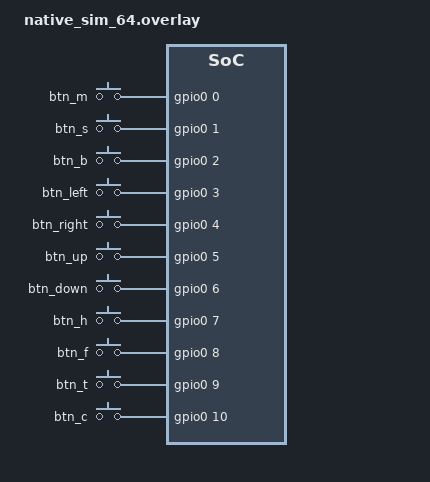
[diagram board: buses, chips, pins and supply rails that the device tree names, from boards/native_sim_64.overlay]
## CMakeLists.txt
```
cmake_minimum_required(VERSION 3.20.0)
find_package(Zephyr REQUIRED HINTS $ENV{ZEPHYR_BASE})
project(native_sim_keypad_demo)

target_sources(app PRIVATE src/main.c)
```

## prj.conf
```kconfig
# Common project configuration

# LVGL
CONFIG_LVGL=y
CONFIG_LV_Z_MEM_POOL_SIZE=196608

# Enable larger Montserrat font sizes for readability
CONFIG_LV_FONT_MONTSERRAT_22=y
CONFIG_LV_FONT_MONTSERRAT_28=y

# Display blanking
CONFIG_DISPLAY=y

# Input system
CONFIG_INPUT=y

# Logging
CONFIG_LOG=y
CONFIG_LOG_BACKEND_UART=y

# Shell (optional, useful for debugging)
CONFIG_SHELL=n
```

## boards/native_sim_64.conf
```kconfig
# Native simulator 64-bit configuration

# SDL Display Configuration
CONFIG_SDL_DISPLAY_ZOOM_PCT=100

# SDL GPIO emulation → keyboard keys act as virtual GPIO buttons
CONFIG_GPIO_EMUL=y
CONFIG_GPIO_EMUL_SDL=y
CONFIG_INPUT_GPIO_KEYS=y

# Heap for LVGL
CONFIG_HEAP_MEM_POOL_SIZE=16384000

# UART PTY Configuration
CONFIG_SERIAL=y
CONFIG_UART_NATIVE_PTY=y
# Create PTY on own pseudo-terminal (not stdin/stdout)
CONFIG_UART_NATIVE_PTY_0_ON_OWN_PTY=y
```

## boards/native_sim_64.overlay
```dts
/*
 * native_sim 64-bit overlay
 * SDL display + SDL keyboard emulation via gpio-emul-sdl
 *
 * Pin | SDL scancode | Key | TOOL_BTN
 *  0  |     16       |  M  | TOOL_BTN_MENU
 *  1  |     22       |  S  | TOOL_BTN_FUNC   (settings/function)
 *  2  |      5       |  B  | TOOL_BTN_BACK
 *  3  |     80       |  ← | TOOL_BTN_LEFT
 *  4  |     79       |  → | TOOL_BTN_RIGHT
 *  5  |     82       |  ↑  | TOOL_BTN_UP
 *  6  |     81       |  ↓  | TOOL_BTN_DOWN
 *  7  |     11       |  H  | TOOL_BTN_HERO
 *  8  |      9       |  F  | TOOL_BTN_FUNC (duplicate shortcut)
 *  9  |     23       |  T  | TOOL_BTN_BLUETOOTH
 * 10  |      6       |  C  | TOOL_BTN_CALCULATE
 */

#include <zephyr/dt-bindings/input/input-event-codes.h>

/ {
	chosen {
		zephyr,display = &sdl_dc;
	};

	nav_keys: nav_keys {
		compatible = "gpio-keys";

		btn_m: btn_m {
			gpios = <&gpio0 0 GPIO_ACTIVE_HIGH>;
			zephyr,code = <INPUT_KEY_M>;
		};
		btn_s: btn_s {
			gpios = <&gpio0 1 GPIO_ACTIVE_HIGH>;
			zephyr,code = <INPUT_KEY_S>;
		};
		btn_b: btn_b {
			gpios = <&gpio0 2 GPIO_ACTIVE_HIGH>;
			zephyr,code = <INPUT_KEY_B>;
		};
		btn_left: btn_left {
			gpios = <&gpio0 3 GPIO_ACTIVE_HIGH>;
			zephyr,code = <INPUT_KEY_LEFT>;
		};
		btn_right: btn_right {
			gpios = <&gpio0 4 GPIO_ACTIVE_HIGH>;
			zephyr,code = <INPUT_KEY_RIGHT>;
		};
		btn_up: btn_up {
			gpios = <&gpio0 5 GPIO_ACTIVE_HIGH>;
			zephyr,code = <INPUT_KEY_UP>;
		};
		btn_down: btn_down {
			gpios = <&gpio0 6 GPIO_ACTIVE_HIGH>;
			zephyr,code = <INPUT_KEY_DOWN>;
		};
		btn_h: btn_h {
			gpios = <&gpio0 7 GPIO_ACTIVE_HIGH>;
			zephyr,code = <INPUT_KEY_H>;
		};
		btn_f: btn_f {
			gpios = <&gpio0 8 GPIO_ACTIVE_HIGH>;
			zephyr,code = <INPUT_KEY_F>;
		};
		btn_t: btn_t {
			gpios = <&gpio0 9 GPIO_ACTIVE_HIGH>;
			zephyr,code = <INPUT_KEY_T>;
		};
		btn_c: btn_c {
			gpios = <&gpio0 10 GPIO_ACTIVE_HIGH>;
			zephyr,code = <INPUT_KEY_C>;
		};
	};

	aliases {
		mt-keypad-settings = &btn_s;
		mt-keypad-right = &btn_right;
		mt-keypad-measure = &btn_m;
		mt-keypad-up = &btn_up;
		mt-keypad-down = &btn_down;
		mt-keypad-left = &btn_left;
	};
};

&sdl_dc {
	width = <480>;
	height = <854>;
};

&gpio0 {
	ngpios = <11>;
	status = "okay";

	sdl_gpio {
		compatible = "zephyr,gpio-emul-sdl";
		/* M=16 S=22 B=5 LEFT=80 RIGHT=79 UP=82 DOWN=81 H=11 F=9 T=23 C=6 */
		scancodes = <16 22  5 80 79 82 81 11  9 23 6>;
	};
};
```

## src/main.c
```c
/*
 * SPDX-License-Identifier: Apache-2.0
 *
 * Native-sim keypad demo  (480 × 854 display)
 *
 * Layout:
 *
 *   ┌──────────────────────────────────────┐
 *   │          Keypad Demo                 │  title
 *   │  ┌────────────────────────────────┐  │
 *   │  │  Last key: …                   │  │  status bar
 *   │  └────────────────────────────────┘  │
 *   │                                      │
 *   │  ┌─────── Action Keys ────────────┐  │
 *   │  │  [  M  ] [  H  ] [  B  ]      │  │
 *   │  │  [  S  ] [  F  ] [  T  ]      │  │
 *   │  │  [  C  ]                       │  │
 *   │  └────────────────────────────────┘  │
 *   │                                      │
 *   │  ┌────────── D-Pad ────────────── ┐  │
 *   │  │          [  ▲  ]               │  │
 *   │  │  [  ◄ ]  [     ]  [  ► ]      │  │
 *   │  │          [  ▼  ]               │  │
 *   │  └────────────────────────────────┘  │
 *   │                                      │
 *   │  Click a button or press SDL key     │  hint
 *   └──────────────────────────────────────┘
 */

#include <zephyr/kernel.h>
#include <zephyr/device.h>
#include <zephyr/drivers/display.h>
#include <zephyr/input/input.h>
#include <zephyr/logging/log.h>

#include <lvgl.h>

LOG_MODULE_REGISTER(main, LOG_LEVEL_INF);

/* ── DT nodes ─────────────────────────────────────────────────────────────── */
#define NAV_KEYS_NODE   DT_NODELABEL(nav_keys)
#define KEY_M_NODE      DT_PATH(nav_keys, btn_m)
#define KEY_S_NODE      DT_PATH(nav_keys, btn_s)
#define KEY_B_NODE      DT_PATH(nav_keys, btn_b)
#define KEY_LEFT_NODE   DT_PATH(nav_keys, btn_left)
#define KEY_RIGHT_NODE  DT_PATH(nav_keys, btn_right)
#define KEY_UP_NODE     DT_PATH(nav_keys, btn_up)
#define KEY_DOWN_NODE   DT_PATH(nav_keys, btn_down)
#define KEY_H_NODE      DT_PATH(nav_keys, btn_h)
#define KEY_F_NODE      DT_PATH(nav_keys, btn_f)
#define KEY_T_NODE      DT_PATH(nav_keys, btn_t)
#define KEY_C_NODE      DT_PATH(nav_keys, btn_c)

/* ── Palette ──────────────────────────────────────────────────────────────── */
#define COL_BG         0x1A1A2E
#define COL_PANEL      0x16213E
#define COL_BTN_IDLE   0x0F3460
#define COL_BTN_PRESS  0xE94560
#define COL_DPAD_IDLE  0x1B4F72
#define COL_DPAD_PRESS 0xE94560
#define COL_ACCENT     0x533483
#define COL_TEXT       0xEEEEEE
#define COL_STATUS_BG  0x0D0D1A
#define COL_GRP_BORDER 0x2E4483

/* ── Key indices ──────────────────────────────────────────────────────────── */
#define IDX_UP    0
#define IDX_LEFT  1
#define IDX_DOWN  2
#define IDX_RIGHT 3
#define IDX_M     4
#define IDX_H     5
#define IDX_B     6
#define IDX_S     7
#define IDX_F     8
#define IDX_T     9
#define IDX_C     10

struct key_info {
	const char *symbol;
	const char *desc;
	uint16_t    code;
	lv_obj_t   *btn;
};

static struct key_info keys[] = {
	/* D-pad — LVGL built-in arrow symbols */
	[IDX_UP]    = { LV_SYMBOL_UP,    "Up",        DT_PROP(KEY_UP_NODE,    zephyr_code) },
	[IDX_LEFT]  = { LV_SYMBOL_LEFT,  "Left",      DT_PROP(KEY_LEFT_NODE,  zephyr_code) },
	[IDX_DOWN]  = { LV_SYMBOL_DOWN,  "Down",      DT_PROP(KEY_DOWN_NODE,  zephyr_code) },
	[IDX_RIGHT] = { LV_SYMBOL_RIGHT, "Right",     DT_PROP(KEY_RIGHT_NODE, zephyr_code) },
	/* Action keys */
	[IDX_M]     = { "M", "Menu",      DT_PROP(KEY_M_NODE, zephyr_code) },
	[IDX_H]     = { "H", "Hero",      DT_PROP(KEY_H_NODE, zephyr_code) },
	[IDX_B]     = { "B", "Back",      DT_PROP(KEY_B_NODE, zephyr_code) },
	[IDX_S]     = { "S", "Settings",  DT_PROP(KEY_S_NODE, zephyr_code) },
	[IDX_F]     = { "F", "Function",  DT_PROP(KEY_F_NODE, zephyr_code) },
	[IDX_T]     = { "T", "Bluetooth", DT_PROP(KEY_T_NODE, zephyr_code) },
	[IDX_C]     = { "C", "Calculate", DT_PROP(KEY_C_NODE, zephyr_code) },
};

#define NUM_KEYS ARRAY_SIZE(keys)

static lv_obj_t *status_label;

/* ── State update ─────────────────────────────────────────────────────────── */

static void set_key_pressed(int idx, bool pressed)
{
	bool is_dpad   = (idx <= IDX_RIGHT);
	uint32_t press = is_dpad ? COL_DPAD_PRESS : COL_BTN_PRESS;
	uint32_t idle  = is_dpad ? COL_DPAD_IDLE  : COL_BTN_IDLE;

	lv_obj_set_style_bg_color(keys[idx].btn,
				  pressed ? lv_color_hex(press)
					  : lv_color_hex(idle), 0);

	lv_label_set_recolor(status_label, true);
	if (pressed) {
		lv_label_set_text_fmt(status_label,
				      "#FFFFFF %s#  (#E94560 %s# pressed)",
				      keys[idx].symbol, keys[idx].desc);
	} else {
		lv_label_set_text_fmt(status_label,
				      "#AAAAAA %s#  %s  released",
				      keys[idx].symbol, keys[idx].desc);
	}
}

/* ── Input callback (keyboard / GPIO-emul) ───────────────────────────────── */

static void input_cb(struct input_event *evt, void *user_data)
{
	ARG_UNUSED(user_data);
	if (evt->type != INPUT_EV_KEY) {
		return;
	}
	for (int i = 0; i < (int)NUM_KEYS; i++) {
		if (keys[i].code == evt->code) {
			set_key_pressed(i, evt->value != 0);
			return;
		}
	}
}

INPUT_CALLBACK_DEFINE(DEVICE_DT_GET(NAV_KEYS_NODE), input_cb, NULL);

/* ── LVGL mouse callbacks ─────────────────────────────────────────────────── */

static void btn_press_cb(lv_event_t *e)
{
	set_key_pressed((int)(intptr_t)lv_event_get_user_data(e), true);
}

static void btn_release_cb(lv_event_t *e)
{
	set_key_pressed((int)(intptr_t)lv_event_get_user_data(e), false);
}

/* ── Button factory ───────────────────────────────────────────────────────── */

static lv_obj_t *make_btn(lv_obj_t *parent, int idx,
			   int w, int h, uint32_t idle_col)
{
	lv_obj_t *btn = lv_obj_create(parent);
	lv_obj_set_size(btn, w, h);
	lv_obj_add_flag(btn, LV_OBJ_FLAG_CLICKABLE);
	lv_obj_clear_flag(btn, LV_OBJ_FLAG_SCROLLABLE);
	lv_obj_set_style_bg_color(btn, lv_color_hex(idle_col), 0);
	lv_obj_set_style_bg_opa(btn, LV_OPA_COVER, 0);
	lv_obj_set_style_radius(btn, 10, 0);
	lv_obj_set_style_border_color(btn, lv_color_hex(COL_ACCENT), 0);
	lv_obj_set_style_border_width(btn, 1, 0);

	void *ud = (void *)(intptr_t)idx;
	lv_obj_add_event_cb(btn, btn_press_cb,   LV_EVENT_PRESSED,  ud);
	lv_obj_add_event_cb(btn, btn_release_cb, LV_EVENT_RELEASED, ud);

	lv_obj_t *lbl = lv_label_create(btn);
	lv_label_set_text(lbl, keys[idx].symbol);
	lv_obj_set_style_text_color(lbl, lv_color_hex(COL_TEXT), 0);
	lv_obj_set_style_text_font(lbl, &lv_font_montserrat_28, 0);
	lv_obj_center(lbl);

	keys[idx].btn = btn;
	return btn;
}

/* ── Panel helper ─────────────────────────────────────────────────────────── */

static lv_obj_t *make_panel(lv_obj_t *parent, const char *title,
			     int w, int h, int y_ofs)
{
	lv_obj_t *panel = lv_obj_create(parent);
	lv_obj_set_size(panel, w, h);
	lv_obj_align(panel, LV_ALIGN_TOP_MID, 0, y_ofs);
	lv_obj_set_style_bg_color(panel, lv_color_hex(COL_PANEL), 0);
	lv_obj_set_style_bg_opa(panel, LV_OPA_COVER, 0);
	lv_obj_set_style_border_color(panel, lv_color_hex(COL_GRP_BORDER), 0);
	lv_obj_set_style_border_width(panel, 1, 0);
	lv_obj_set_style_radius(panel, 12, 0);
	lv_obj_set_style_pad_all(panel, 10, 0);
	lv_obj_clear_flag(panel, LV_OBJ_FLAG_SCROLLABLE);

	lv_obj_t *lbl = lv_label_create(panel);
	lv_label_set_text(lbl, title);
	lv_obj_set_style_text_color(lbl, lv_color_hex(COL_ACCENT), 0);
	lv_obj_set_style_text_font(lbl, &lv_font_montserrat_22, 0);
	lv_obj_align(lbl, LV_ALIGN_TOP_LEFT, 4, 0);

	return panel;
}

/* ── D-Pad cross ──────────────────────────────────────────────────────────── */
/*
 *  3×3 LVGL grid — corners and centre left empty so only the 4 arrow
 *  directions are shown, forming a cross/plus shape:
 *
 *   col:   0         1         2
 *          ·       [ ▲ ]       ·       row 0
 *        [ ◄ ]    (empty)   [ ► ]     row 1
 *          ·       [ ▼ ]       ·       row 2
 *
 *  Gap columns/rows separate cells by COL_DPAD_GAP pixels.
 */
static void build_dpad(lv_obj_t *panel)
{
	/* All four buttons must be exactly this size */
#define DPAD_SZ  110
#define DPAD_GAP   8

	lv_obj_t *cross = lv_obj_create(panel);
	lv_obj_set_size(cross,
			3 * DPAD_SZ + 2 * DPAD_GAP,
			3 * DPAD_SZ + 2 * DPAD_GAP);
	lv_obj_align(cross, LV_ALIGN_CENTER, 0, 14);
	lv_obj_set_style_bg_opa(cross, LV_OPA_TRANSP, 0);
	lv_obj_set_style_border_width(cross, 0, 0);
	lv_obj_set_style_pad_all(cross, 0, 0);
	lv_obj_set_style_pad_gap(cross, 0, 0);
	lv_obj_clear_flag(cross, LV_OBJ_FLAG_SCROLLABLE);

	static const lv_coord_t cols[] = {
		DPAD_SZ, DPAD_GAP, DPAD_SZ, DPAD_GAP, DPAD_SZ,
		LV_GRID_TEMPLATE_LAST
	};
	static const lv_coord_t rows[] = {
		DPAD_SZ, DPAD_GAP, DPAD_SZ, DPAD_GAP, DPAD_SZ,
		LV_GRID_TEMPLATE_LAST
	};
	lv_obj_set_layout(cross, LV_LAYOUT_GRID);
	lv_obj_set_grid_dsc_array(cross, cols, rows);

	/*
	 * Logical grid positions (col 0-2, row 0-2) map to track indices
	 * 0, 2, 4 (the gap tracks are 1 and 3 and never used for buttons).
	 */
#define DPAD_BTN(idx, col, row) \
	do { \
		lv_obj_t *b = make_btn(cross, (idx), DPAD_SZ, DPAD_SZ, \
				       COL_DPAD_IDLE); \
		lv_obj_set_grid_cell(b, \
			LV_GRID_ALIGN_STRETCH, (col) * 2, 1, \
			LV_GRID_ALIGN_STRETCH, (row) * 2, 1); \
	} while (0)

	DPAD_BTN(IDX_UP,    1, 0);   /* top-centre    */
	DPAD_BTN(IDX_LEFT,  0, 1);   /* middle-left   */
	DPAD_BTN(IDX_DOWN,  1, 2);   /* bottom-centre */
	DPAD_BTN(IDX_RIGHT, 2, 1);   /* middle-right  */

	/*
	 * Transparent placeholder at the true centre (track col=2, row=2)
	 * so the grid allocates all 5×5 tracks even though the corners are
	 * empty. Without this the layout engine may shrink unused tracks.
	 */
	lv_obj_t *c = lv_obj_create(cross);
	lv_obj_set_size(c, DPAD_SZ, DPAD_SZ);
	lv_obj_set_style_bg_opa(c, LV_OPA_TRANSP, 0);
	lv_obj_set_style_border_width(c, 0, 0);
	lv_obj_set_grid_cell(c,
			     LV_GRID_ALIGN_STRETCH, 2, 1,   /* col track 2 = logical col 1 */
			     LV_GRID_ALIGN_STRETCH, 2, 1);  /* row track 2 = logical row 1 */

#undef DPAD_BTN
#undef DPAD_SZ
#undef DPAD_GAP
}

/* ── Action keys grid ─────────────────────────────────────────────────────── */
/*
 *  Row-major, 4 columns × 2 rows (last cell empty):
 *    [ M ]  [ H ]  [ B ]  [ S ]
 *    [ F ]  [ T ]  [ C ]  [   ]
 */
static const int ACTION_IDXS[] = {
	IDX_M, IDX_H, IDX_B, IDX_S,
	IDX_F, IDX_T, IDX_C,
};
#define NUM_ACTION ARRAY_SIZE(ACTION_IDXS)

static void build_action_keys(lv_obj_t *panel)
{
#define ACT_COLS  4
#define ACT_H    120   /* button height */

	lv_obj_t *grid = lv_obj_create(panel);
	lv_obj_set_size(grid, LV_PCT(100), LV_SIZE_CONTENT);
	lv_obj_align(grid, LV_ALIGN_TOP_MID, 0, 30);
	lv_obj_set_style_bg_opa(grid, LV_OPA_TRANSP, 0);
	lv_obj_set_style_border_width(grid, 0, 0);
	lv_obj_set_style_pad_all(grid, 0, 0);
	lv_obj_set_style_pad_gap(grid, 10, 0);
	lv_obj_clear_flag(grid, LV_OBJ_FLAG_SCROLLABLE);

	static const lv_coord_t cols[] = {
		LV_GRID_FR(1), LV_GRID_FR(1), LV_GRID_FR(1), LV_GRID_FR(1),
		LV_GRID_TEMPLATE_LAST
	};
	static const lv_coord_t rows[] = {
		ACT_H, ACT_H,
		LV_GRID_TEMPLATE_LAST
	};
	lv_obj_set_layout(grid, LV_LAYOUT_GRID);
	lv_obj_set_grid_dsc_array(grid, cols, rows);

	for (int i = 0; i < (int)NUM_ACTION; i++) {
		int idx = ACTION_IDXS[i];
		lv_obj_t *btn = make_btn(grid, idx,
					 LV_PCT(100), ACT_H, COL_BTN_IDLE);

		/* description text below the symbol */
		lv_obj_t *desc = lv_label_create(btn);
		lv_label_set_text(desc, keys[idx].desc);
		lv_obj_set_style_text_color(desc, lv_color_hex(0x8899AA), 0);
		lv_obj_set_style_text_font(desc, &lv_font_montserrat_22, 0);
		lv_obj_align(desc, LV_ALIGN_BOTTOM_MID, 0, -6);

		/* nudge symbol label up so it doesn't overlap desc */
		lv_obj_align(lv_obj_get_child(btn, 0), LV_ALIGN_CENTER, 0, -14);

		lv_obj_set_grid_cell(btn,
				     LV_GRID_ALIGN_STRETCH, i % ACT_COLS, 1,
				     LV_GRID_ALIGN_STRETCH, i / ACT_COLS, 1);
	}

#undef ACT_COLS
#undef ACT_H
}

/* ── Top-level UI ─────────────────────────────────────────────────────────── */

static void create_ui(void)
{
	lv_obj_t *scr = lv_scr_act();
	lv_obj_set_style_bg_color(scr, lv_color_hex(COL_BG), 0);
	lv_obj_set_style_bg_opa(scr, LV_OPA_COVER, 0);

	/* Title */
	lv_obj_t *title = lv_label_create(scr);
	lv_label_set_text(title, "Keypad Demo");
	lv_obj_set_style_text_color(title, lv_color_hex(COL_TEXT), 0);
	lv_obj_set_style_text_font(title, &lv_font_montserrat_28, 0);
	lv_obj_align(title, LV_ALIGN_TOP_MID, 0, 10);

	/* Status bar */
	lv_obj_t *sbar = lv_obj_create(scr);
	lv_obj_set_size(sbar, 460, 54);
	lv_obj_align(sbar, LV_ALIGN_TOP_MID, 0, 50);
	lv_obj_set_style_bg_color(sbar, lv_color_hex(COL_STATUS_BG), 0);
	lv_obj_set_style_border_color(sbar, lv_color_hex(COL_ACCENT), 0);
	lv_obj_set_style_border_width(sbar, 1, 0);
	lv_obj_set_style_radius(sbar, 8, 0);
	lv_obj_set_style_pad_all(sbar, 8, 0);
	lv_obj_clear_flag(sbar, LV_OBJ_FLAG_SCROLLABLE);

	status_label = lv_label_create(sbar);
	lv_label_set_recolor(status_label, true);
	lv_label_set_text(status_label, "#888888 Waiting for input...#");
	lv_obj_set_style_text_color(status_label, lv_color_hex(COL_TEXT), 0);
	lv_obj_set_style_text_font(status_label, &lv_font_montserrat_22, 0);
	lv_obj_center(status_label);

	/*
	 * Pixel budget (480 × 854):
	 *   title        y=10,  h=36  → bottom= 46
	 *   status bar   y=50,  h=54  → bottom=104
	 *   gap=8
	 *   Action panel y=112, h=296 → bottom=408
	 *     4 cols × 2 rows × 120px + 1×gap(10) + title(28) + 2×pad(10) = 296
	 *   gap=8
	 *   D-pad panel  y=416, h=426 → bottom=842
	 *     3×110 + 2×8 + title(28) + 2×pad(10) = 386 → round to 394
	 *   hint BOTTOM_MID -6       → ~848
	 */
	lv_obj_t *act  = make_panel(scr, "Action Keys", 460, 296, 112);
	build_action_keys(act);

	lv_obj_t *dpad = make_panel(scr, "D-Pad",       460, 394, 416);
	build_dpad(dpad);

	/* Hint footer */
	lv_obj_t *hint = lv_label_create(scr);
	lv_label_set_text(hint,
			  LV_SYMBOL_KEYBOARD
			  "  M H B S F T C  |  "
			  LV_SYMBOL_LEFT " " LV_SYMBOL_RIGHT
			  " " LV_SYMBOL_UP " " LV_SYMBOL_DOWN
			  "  arrow keys");
	lv_obj_set_style_text_font(hint, &lv_font_montserrat_22, 0);
	lv_obj_set_style_text_color(hint, lv_color_hex(0x556677), 0);
	lv_obj_align(hint, LV_ALIGN_BOTTOM_MID, 0, -6);
}

/* ── Entry point ──────────────────────────────────────────────────────────── */

int main(void)
{
	const struct device *display_dev =
		DEVICE_DT_GET(DT_CHOSEN(zephyr_display));

	if (!device_is_ready(display_dev)) {
		LOG_ERR("Display device not ready");
		return -ENODEV;
	}

	create_ui();

	lv_task_handler();
	display_blanking_off(display_dev);

	while (1) {
		lv_task_handler();
		k_sleep(K_MSEC(10));
	}

	return 0;
}
```
